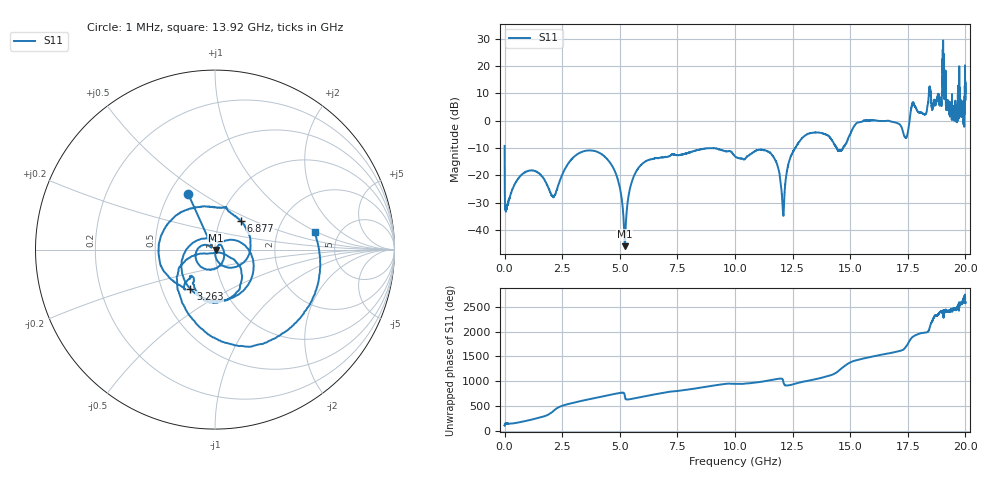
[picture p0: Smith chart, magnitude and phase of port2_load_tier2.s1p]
! Created with skrf 1.8.0 (http://scikit-rf.org).
# GHz S RI R 50.0
!freq ReS11 ImS11
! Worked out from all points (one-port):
!   10001 points, 1 MHz to 20 GHz, reference 50 ohm
!   lowest |S11| = -45.8 dB at 5.221 GHz (marker M1), VSWR 1.01, Z = 50.5 - j0.178 ohm
!   |S11| at or under -10 dB: 1.179 MHz to 12.61 GHz (12.61 GHz wide, 200 % of centre); 14.41 GHz to 14.69 GHz (276.3 MHz wide, 1.9 % of centre)
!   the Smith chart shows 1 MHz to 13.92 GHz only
!   S11 on the Smith chart (normalised r, x): 1 MHz: 0.62, +0.44; 3.263 GHz: 0.70, -0.33; 6.877 GHz: 1.26, +0.42; 13.92 GHz: 3.28, +0.96
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0.001  -0.1503 0.3119
2.500875  -0.0866 0.0557
3.262837  -0.1366 -0.219
5.00075  0.0434 0.0432
5.220739  0.00479 -0.00177
6.876656  0.1436 0.1596
7.500625  0.0194 0.2332
10.0005  -0.1484 -0.1672
12.0864  0.00834 -0.0186
12.50038  -0.2113 -0.1547
13.9223  0.5551 0.1
15.00025  0.2748 -0.4961
15.54822  0.9396 0.2702
16.25019  0.0875 0.9857
17.11614  -0.8565 0.1933
17.50013  0.4091 -0.4422
17.75611  -0.5442 1.981
18.32808  -1.542 -0.1794
18.40608  -2.176 -1.795
18.53807  1.595 1.067
18.64407  -1.57 1.49
18.75006  -2.254 0.5945
18.93805  -0.8749 -1.889
19.06805  -2.786 -3.318
19.18604  -0.6424 -1.453
19.69202  1.278 -0.4145
19.89001  0.8994 1.782
20  1.253 2.435
